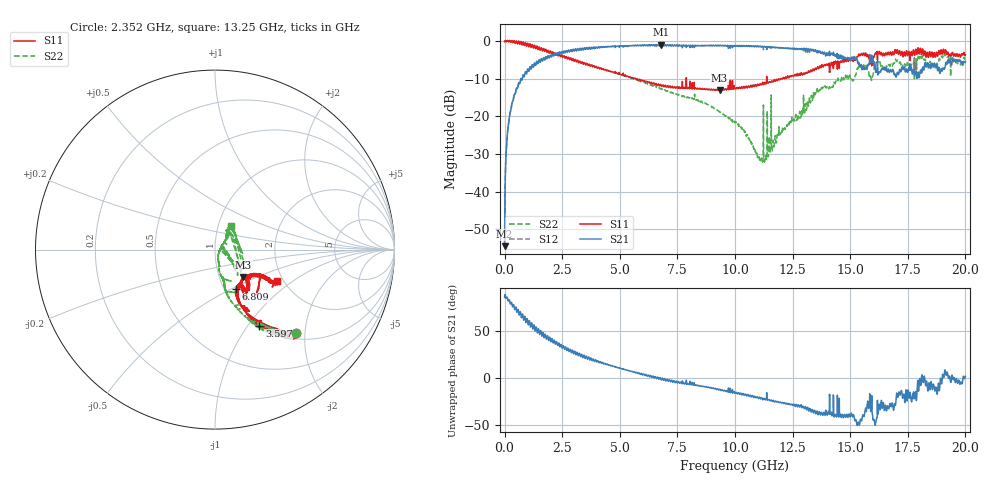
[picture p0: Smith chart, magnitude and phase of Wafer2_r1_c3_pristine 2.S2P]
!  2-Port S-parameters saved by WinCal
! VAR MeasName=S-Parameters (CALIBRATED_DATA) read from VNA (P5004A)
! VAR MeasDate=24/04/2024 15:20:22
! VAR NAME=Wafer2_r1_c3_pristine 2
! VAR FILENAME=Wafer2_r1_c3_pristine 2.S2P
! VAR DATE=24/04/2024 15:20:22
! VAR PHYS_PORTS=1,2
! VAR ObjTypeName=DATASET
! VAR IndexType=Frequency
# Hz S MA R 50
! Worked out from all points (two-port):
!   4999 points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, 4.01 MHz to 20 GHz, reference 50 ohm
!   highest |S21| = -0.97 dB at 6.777 GHz (marker M1); lowest = -54.5 dB at 4.01 MHz (marker M2)
!   |S21| within 3 dB of the highest: 2.137 GHz to 13.93 GHz (11.8 GHz wide, 147 % of centre); 13.94 GHz to 14.34 GHz (398 MHz wide, 2.81 % of centre)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
!   lowest |S11| = -13.1 dB at 9.33 GHz (marker M3), VSWR 1.57, Z = 64.8 - j21.1 ohm
!   |S11| at or under -10 dB: 5.682 GHz to 7.886 GHz (2.204 GHz wide, 32.5 % of centre); 7.894 GHz to 11.37 GHz (3.48 GHz wide, 36.1 % of centre); 11.38 GHz to 11.99 GHz (606.9 MHz wide, 5.19 % of centre)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
!   |S22| runs from -32.1 to 0.1 dB; largest |S21 - S12| = 0.26
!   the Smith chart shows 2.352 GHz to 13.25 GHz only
!   S11 on the Smith chart (normalised r, x): 2.352 GHz: 1.11, -1.79; 3.597 GHz: 1.01, -1.14; 6.809 GHz: 1.13, -0.53; 13.25 GHz: 1.84, -0.76
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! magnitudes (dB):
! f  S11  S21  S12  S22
! 4.01 MHz  -0.1  -54.5  -54.4  -0.1
! 108 MHz  -0.1  -26.1  -26.0  -0.1
! 152 MHz  0.0  -23.0  -23.1  0.0
! 460.1 MHz  -0.6  -14.1  -14.1  -0.5
! 1.152 GHz  -1.7  -7.4  -7.4  -1.7
! 2.352 GHz  -3.8  -3.3  -3.3  -3.8
! 3.341 GHz  -5.8  -2.2  -2.2  -5.8
! 3.597 GHz  -6.1  -1.9  -1.9  -6.1
! 6.673 GHz  -11.4  -1.0  -1.0  -12.5
! 6.777 GHz  -11.5  -1.0  -1.0  -12.7
! 6.809 GHz  -12.1  -1.2  -1.3  -12.8
! 9.33 GHz  -13.1  -1.3  -1.2  -18.8
! 10 GHz  -12.6  -1.3  -1.3  -21.7
! 11.13 GHz  -11.6  -1.6  -1.5  -31.7
! 13.25 GHz  -8.3  -2.4  -2.4  -15.9
! 13.33 GHz  -8.1  -2.6  -2.4  -15.4
! 15.11 GHz  -5.4  -4.6  -4.3  -10.6
! 15.44 GHz  -3.7  -6.6  -6.8  -6.8
! 15.91 GHz  -5.1  -5.6  -5.2  -10.3
! 16.16 GHz  -2.8  -7.7  -8.0  -5.7
! 16.67 GHz  -3.3  -7.7  -7.8  -6.3
! 20 GHz  -3.7  -5.5  -5.7  -5.0
